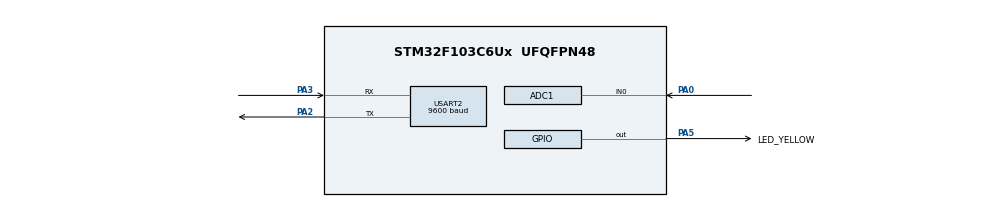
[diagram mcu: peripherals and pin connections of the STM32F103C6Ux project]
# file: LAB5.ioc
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ADC1.Channel-0\#ChannelRegularConversion=ADC_CHANNEL_0
ADC1.ContinuousConvMode=ENABLE
ADC1.NbrOfConversionFlag=1
ADC1.Rank-0\#ChannelRegularConversion=1
ADC1.SamplingTime-0\#ChannelRegularConversion=ADC_SAMPLETIME_1CYCLE_5
ADC1.master=1
Mcu.Family=STM32F1
Mcu.Name=STM32F103C6Ux
Mcu.Package=UFQFPN48
NVIC.PriorityGroup=NVIC_PRIORITYGROUP_4
NVIC.TIM2_IRQn=true\:0\:0\:false\:false\:true\:true\:true
NVIC.USART2_IRQn=true\:0\:0\:false\:false\:true\:true\:true
PA0-WKUP.Signal=ADCx_IN0
PA2.Mode=Asynchronous
PA2.Signal=USART2_TX
PA3.Mode=Asynchronous
PA3.Signal=USART2_RX
PA5.GPIO_Label=LED_YELLOW
PA5.Signal=GPIO_Output
ProjectManager.HeapSize=0x200
ProjectManager.StackSize=0x400
ProjectManager.TargetToolchain=STM32CubeIDE
RCC.APB1Freq_Value=8000000
RCC.APB2Freq_Value=8000000
SH.ADCx_IN0.0=ADC1_IN0,IN0
TIM2.Period=9
TIM2.Prescaler=7999
USART2.BaudRate=9600
USART2.VirtualMode=VM_ASYNC
VP_SYS_VS_ND.Mode=No_Debug
VP_TIM2_VS_ClockSourceINT.Mode=Internal
board=custom

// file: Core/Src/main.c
/* USER CODE BEGIN Header */
/**
  ******************************************************************************
  * @file           : main.c
  * @brief          : Main program body
  ******************************************************************************
  * @attention
  *
  * <h2><center>&copy; Copyright (c) 2024 STMicroelectronics.
  * All rights reserved.</center></h2>
  *
  * This software component is licensed by ST under BSD 3-Clause license,
  * the "License"; You may not use this file except in compliance with the
  * License. You may obtain a copy of the License at:
  *                        opensource.org/licenses/BSD-3-Clause
  *
  ******************************************************************************
  */
/* USER CODE END Header */
#include "main.h"

/* USER CODE BEGIN Includes */
#include <stdio.h>
#include <string.h>
#include <stdlib.h>
#include "software_timer.h"
#include "fsm_automatic.h"
/* USER CODE END Includes */

ADC_HandleTypeDef hadc1;

TIM_HandleTypeDef htim2;

UART_HandleTypeDef huart2;

void SystemClock_Config(void);
static void MX_GPIO_Init(void);
static void MX_ADC1_Init(void);
static void MX_USART2_UART_Init(void);
static void MX_TIM2_Init(void);

/* USER CODE BEGIN 0 */
void HAL_UART_RxCpltCallback(UART_HandleTypeDef *huart){
	if (huart->Instance == USART2){
		HAL_UART_Transmit(&huart2, &buffer_byte, 1, 500);
		buffer[index_buffer] = buffer_byte;
		index_buffer++;
		if (index_buffer == MAX_BUFFER_SIZE) index_buffer = 0;
		buffer_flag = 1;
		HAL_UART_Receive_IT(&huart2, &buffer_byte, 1);
	}
}
/* USER CODE END 0 */

int main(void)
{

  /* MCU Configuration--------------------------------------------------------*/

  /* Reset of all peripherals, Initializes the Flash interface and the Systick. */
  HAL_Init();

  /* Configure the system clock */
  SystemClock_Config();

  /* Initialize all configured peripherals */
  MX_GPIO_Init();
  MX_ADC1_Init();
  MX_USART2_UART_Init();
  MX_TIM2_Init();
  /* USER CODE BEGIN 2 */
  HAL_TIM_Base_Start_IT(&htim2);
  HAL_UART_Receive_IT(&huart2, &buffer_byte, 1);
  HAL_ADC_Start(&hadc1);
  setTimer2(50);
  /* USER CODE END 2 */

  /* Infinite loop */
  /* USER CODE BEGIN WHILE */
  while (1)
  {
	  if (timer2_flag == 1){
		  HAL_GPIO_TogglePin(LED_YELLOW_GPIO_Port, LED_YELLOW_Pin);
		  setTimer2(50);
	  }
	  if (buffer_flag == 1){
		  cmd_parser_fsm();
		  buffer_flag = 0;
	  }
	  uart_comms_fsm();
    /* USER CODE END WHILE */

  }
}

void SystemClock_Config(void)
{
  RCC_OscInitTypeDef RCC_OscInitStruct = {0};
  RCC_ClkInitTypeDef RCC_ClkInitStruct = {0};
  RCC_PeriphCLKInitTypeDef PeriphClkInit = {0};

  /** Initializes the RCC Oscillators according to the specified parameters
  * in the RCC_OscInitTypeDef structure.
  */
  RCC_OscInitStruct.OscillatorType = RCC_OSCILLATORTYPE_HSI;
  RCC_OscInitStruct.HSIState = RCC_HSI_ON;
  RCC_OscInitStruct.HSICalibrationValue = RCC_HSICALIBRATION_DEFAULT;
  RCC_OscInitStruct.PLL.PLLState = RCC_PLL_NONE;
  if (HAL_RCC_OscConfig(&RCC_OscInitStruct) != HAL_OK)
  {
    Error_Handler();
  }
  /** Initializes the CPU, AHB and APB buses clocks
  */
  RCC_ClkInitStruct.ClockType = RCC_CLOCKTYPE_HCLK|RCC_CLOCKTYPE_SYSCLK
                              |RCC_CLOCKTYPE_PCLK1|RCC_CLOCKTYPE_PCLK2;
  RCC_ClkInitStruct.SYSCLKSource = RCC_SYSCLKSOURCE_HSI;
  RCC_ClkInitStruct.AHBCLKDivider = RCC_SYSCLK_DIV1;
  RCC_ClkInitStruct.APB1CLKDivider = RCC_HCLK_DIV1;
  RCC_ClkInitStruct.APB2CLKDivider = RCC_HCLK_DIV1;

  if (HAL_RCC_ClockConfig(&RCC_ClkInitStruct, FLASH_LATENCY_0) != HAL_OK)
  {
    Error_Handler();
  }
  PeriphClkInit.PeriphClockSelection = RCC_PERIPHCLK_ADC;
  PeriphClkInit.AdcClockSelection = RCC_ADCPCLK2_DIV2;
  if (HAL_RCCEx_PeriphCLKConfig(&PeriphClkInit) != HAL_OK)
  {
    Error_Handler();
  }
}

static void MX_ADC1_Init(void)
{

  ADC_ChannelConfTypeDef sConfig = {0};

  /** Common config
  */
  hadc1.Instance = ADC1;
  hadc1.Init.ScanConvMode = ADC_SCAN_DISABLE;
  hadc1.Init.ContinuousConvMode = ENABLE;
  hadc1.Init.DiscontinuousConvMode = DISABLE;
  hadc1.Init.ExternalTrigConv = ADC_SOFTWARE_START;
  hadc1.Init.DataAlign = ADC_DATAALIGN_RIGHT;
  hadc1.Init.NbrOfConversion = 1;
  if (HAL_ADC_Init(&hadc1) != HAL_OK)
  {
    Error_Handler();
  }
  /** Configure Regular Channel
  */
  sConfig.Channel = ADC_CHANNEL_0;
  sConfig.Rank = ADC_REGULAR_RANK_1;
  sConfig.SamplingTime = ADC_SAMPLETIME_1CYCLE_5;
  if (HAL_ADC_ConfigChannel(&hadc1, &sConfig) != HAL_OK)
  {
    Error_Handler();
  }

}

static void MX_TIM2_Init(void)
{

  TIM_ClockConfigTypeDef sClockSourceConfig = {0};
  TIM_MasterConfigTypeDef sMasterConfig = {0};

  htim2.Instance = TIM2;
  htim2.Init.Prescaler = 7999;
  htim2.Init.CounterMode = TIM_COUNTERMODE_UP;
  htim2.Init.Period = 9;
  htim2.Init.ClockDivision = TIM_CLOCKDIVISION_DIV1;
  htim2.Init.AutoReloadPreload = TIM_AUTORELOAD_PRELOAD_DISABLE;
  if (HAL_TIM_Base_Init(&htim2) != HAL_OK)
  {
    Error_Handler();
  }
  sClockSourceConfig.ClockSource = TIM_CLOCKSOURCE_INTERNAL;
  if (HAL_TIM_ConfigClockSource(&htim2, &sClockSourceConfig) != HAL_OK)
  {
    Error_Handler();
  }
  sMasterConfig.MasterOutputTrigger = TIM_TRGO_RESET;
  sMasterConfig.MasterSlaveMode = TIM_MASTERSLAVEMODE_DISABLE;
  if (HAL_TIMEx_MasterConfigSynchronization(&htim2, &sMasterConfig) != HAL_OK)
  {
    Error_Handler();
  }

}

static void MX_USART2_UART_Init(void)
{

  huart2.Instance = USART2;
  huart2.Init.BaudRate = 9600;
  huart2.Init.WordLength = UART_WORDLENGTH_8B;
  huart2.Init.StopBits = UART_STOPBITS_1;
  huart2.Init.Parity = UART_PARITY_NONE;
  huart2.Init.Mode = UART_MODE_TX_RX;
  huart2.Init.HwFlowCtl = UART_HWCONTROL_NONE;
  huart2.Init.OverSampling = UART_OVERSAMPLING_16;
  if (HAL_UART_Init(&huart2) != HAL_OK)
  {
    Error_Handler();
  }

}

static void MX_GPIO_Init(void)
{
  GPIO_InitTypeDef GPIO_InitStruct = {0};

  /* GPIO Ports Clock Enable */
  __HAL_RCC_GPIOA_CLK_ENABLE();

  /*Configure GPIO pin Output Level */
  HAL_GPIO_WritePin(LED_YELLOW_GPIO_Port, LED_YELLOW_Pin, GPIO_PIN_RESET);

  /*Configure GPIO pin : LED_YELLOW_Pin */
  GPIO_InitStruct.Pin = LED_YELLOW_Pin;
  GPIO_InitStruct.Mode = GPIO_MODE_OUTPUT_PP;
  GPIO_InitStruct.Pull = GPIO_NOPULL;
  GPIO_InitStruct.Speed = GPIO_SPEED_FREQ_LOW;
  HAL_GPIO_Init(LED_YELLOW_GPIO_Port, &GPIO_InitStruct);

}

/* USER CODE BEGIN 4 */
void HAL_TIM_PeriodElapsedCallback(TIM_HandleTypeDef *htim){
	timerRun();
}
/* USER CODE END 4 */

void Error_Handler(void)
{
  __disable_irq();
  while (1)
  {
  }
}

/************************ (C) COPYRIGHT STMicroelectronics *****END OF FILE****/
